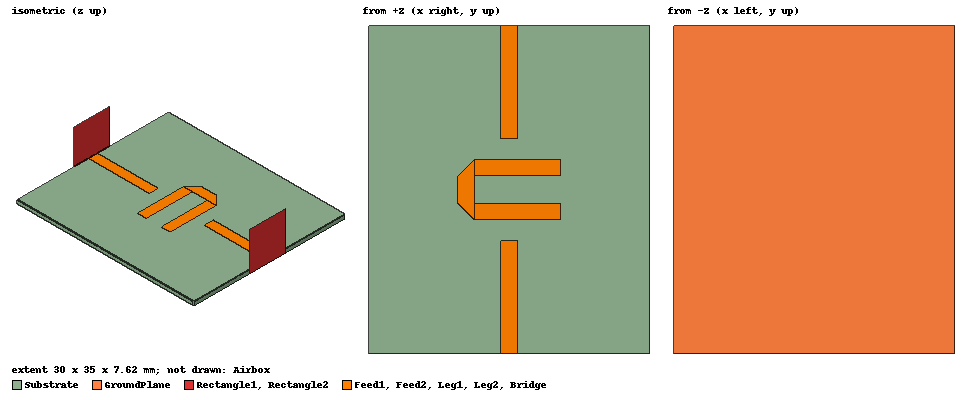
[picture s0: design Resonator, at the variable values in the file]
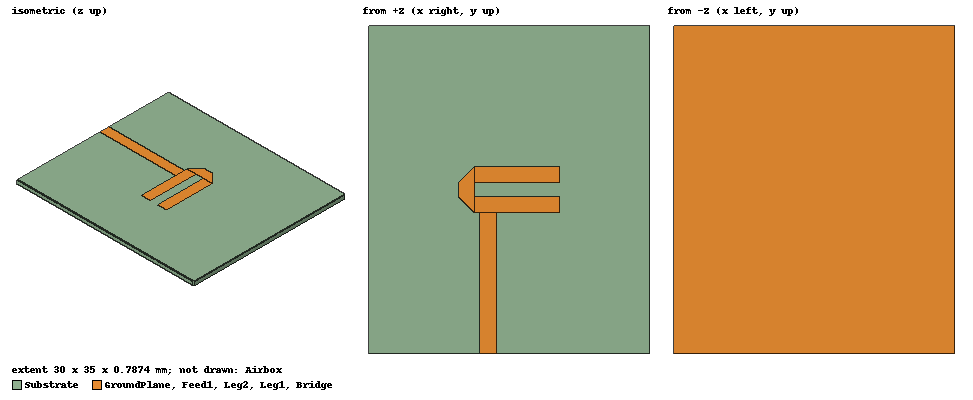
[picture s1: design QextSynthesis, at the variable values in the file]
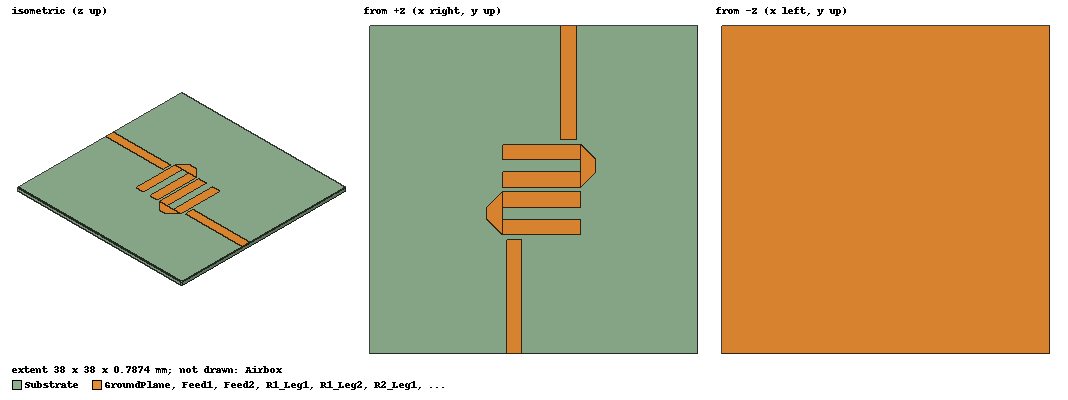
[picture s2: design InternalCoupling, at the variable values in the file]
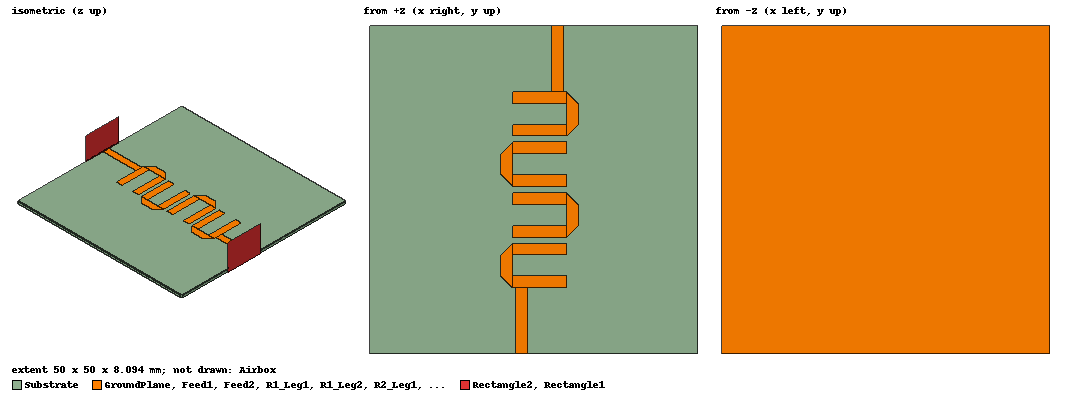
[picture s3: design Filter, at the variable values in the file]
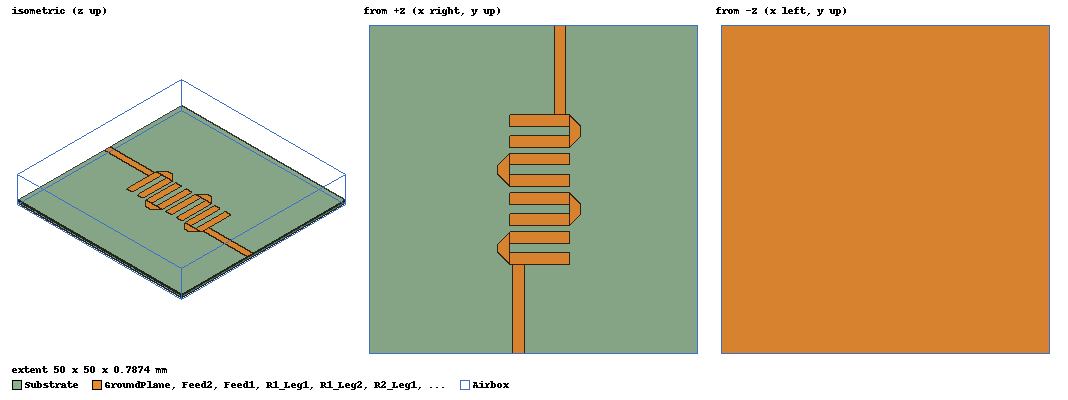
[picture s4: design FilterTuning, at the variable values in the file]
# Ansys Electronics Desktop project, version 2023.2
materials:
  vacuum: permittivity=1
  Rogers RO4003 (tm): permittivity=3.55 dielectric_loss_tangent=0.0027
  copper: permeability=0.999991 conductivity=58000000
  pec: conductivity=1e+30
  LossLess-Rogers RO4003 (tm): permittivity=3.55

design Resonator (HFSS, HFSS Modal Network, model units mm)
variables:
  AirboxWidth = 35mm
  MicrostripWidth = 1.78mm
  Thickness = 31mil
  Len = 25mm
  LegR1 = 0.3663
  BridgeR2 = 0.26
  R1x = AirboxHeight/2- (MicrostripWidth + LegR1*Len)/2
  R1y = AirboxWidth/2 - BridgeR2*Len/2
  AirboxHeight = 30mm
  W50 = 1.78mm
  FX = (AirboxHeight/2 - MicrostripWidth/2) mm
  F1x = AirboxHeight/2 - MicrostripWidth/2+FOffset
  WeakGap = 2.2mm
  FOffset = 0mm
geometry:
  Substrate [LossLess-Rogers RO4003 (tm)] = box(corner=(0mm, 0mm, 0), size=(AirboxHeight, AirboxWidth, Thickness))
  Airbox [vacuum] = box(corner=(0mm, 0mm, 0mm), size=(AirboxHeight, AirboxWidth, 300mil))
  Leg1 = rectangle(corner=(MicrostripWidth+R1x, R1y, Thickness), x_size=Len*LegR1, y_size=MicrostripWidth)
  Leg2 = rectangle(corner=(MicrostripWidth+R1x, R1y+BridgeR2*Len-MicrostripWidth, Thickness), x_size=Len*LegR1, y_size=MicrostripWidth)
  Bridge = rectangle(corner=(R1x, R1y, Thickness), x_size=MicrostripWidth, y_size=Len*BridgeR2)
  Feed1 = rectangle(corner=(F1X, 0, Thickness), x_size=W50, y_size=R1y-WeakGap)
  Feed2 = rectangle(corner=(AirboxHeight/2 - MicrostripWidth/2 + FOffset, AirboxWidth-R1y+WeakGap, Thickness), x_size=W50, y_size=R1y-WeakGap)
  GroundPlane = rectangle(corner=(0, 0, 0), x_size=AirboxHeight, y_size=AirboxWidth)
  Polyline1 = polyline(z=Thickness, xy: (R1x, R1y) (R1x, R1y+MicrostripWidth) (R1x+MicrostripWidth, R1y) (R1x, R1y), closed, covered)
  Bridge.subtract(Polyline1)
  Polyline2 = polyline(z=Thickness, xy: (R1x, R1y + BridgeR2*Len - MicrostripWidth) (R1x, R1y + BridgeR2*Len) (R1x+MicrostripWidth, R1y+BridgeR2*Len) (R1x, R1y + BridgeR2*Len - MicrostripWidth), closed, covered)
  Bridge.subtract(Polyline2)
  Rectangle1 = rectangle(corner=(F1x - (MicrostripWidth*4/3) - FOffset/2, 0mm, 0), z_size=300mil, x_size=MicrostripWidth*4)
  Rectangle2 = rectangle(corner=(F1x - (MicrostripWidth*4/3) - FOffset/2, AirboxWidth, 0), z_size=300mil, x_size=MicrostripWidth*4)
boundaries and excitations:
  Rad1: Radiation Faces=Airbox.face(+z)
  PerfE1: Perfect E Objects=[Bridge, Feed1, Feed2, GroundPlane, Leg1, Leg2]
  1: Wave Port Objects=Rectangle1 WavePortType=Modal NumModes=1 Modes{Mode1{CharImp=Zpi}}
  2: Wave Port Objects=Rectangle2 WavePortType=Modal NumModes=1 Modes{Mode1{CharImp=Zpi}}
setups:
  Setup1: HfssDriven Frequency=3.6GHz MaxDeltaS=0.01 MaximumPasses=12 MinimumPasses=1 MinimumConvergedPasses=1 PercentRefinement=30 BasisOrder=1 PortAccuracy=2 DrivenSolverType="Direct Solver"
    sweep Sweep: 1GHz to 5GHz, 1200 points; Type=Interpolating InterpTolerance=0.5 InterpMaxSolns=250 InterpUsePortImped=false PassivityErrorTolerance=0.0001
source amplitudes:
  1:1: 1W 0deg
  2:1: 0W 0deg
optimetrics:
  ParametricSetup1: Parametric Sim._Setups=[Setup1]
    sweep BridgeR2: 0.27
    sweep LegR1: LIN 0.3 0.4 0.02
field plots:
  ComplexMag_E1, ComplexMag_E2, ComplexMag_E4, Mag_E1: E Field in Airbox on Setup1 : LastAdaptive at Freq=3.6GHz Phase=0deg
  ComplexMag_E3: E Field in Substrate, Airbox on Setup1 : LastAdaptive at Freq=3.6GHz Phase=0deg
  ComplexMag_E5: E Field in Substrate on Setup1 : LastAdaptive at Freq=3.6GHz Phase=0deg
  ComplexMag_E6: E Field on Setup1 : LastAdaptive at Freq=3.6GHz Phase=0deg
  Mesh1: MeshPlots over Feed2.face on Setup1 : LastAdaptive at Freq=3.6GHz Phase=0deg
  Mesh2: MeshPlots in Substrate on Setup1 : LastAdaptive at Freq=3.6GHz Phase=0deg
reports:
  S Parameter Plot 1: dB(S(2,1)) vs Freq on Setup1 : Sweep [FOffset=0mm LegR1=0.3,0.32,0.33,0.335,0.34,0.345,0.35,0.36,0.3663,0.37,0.371,0.372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 BridgeR2=0.28 WeakGap=2.2mm]; markers m1 at 3.2885738GHz, m2 at 3.4687239GHz, m3 at 3.8123436GHz, m4 at 3.8323603GHz, m5 at 3.8490409GHz, m6 at 4.0458716GHz, MX1 at x=3.6e+09

design QextSynthesis (HFSS, HFSS Modal Network, model units mm)
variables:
  AirboxWidth = 35mm
  MicrostripWidth = 1.78mm
  Thickness = 31mil
  Len = 25mm
  LegR1 = 0.3631
  BridgeR2 = 0.2
  R1x = AirboxHeight/2- (MicrostripWidth + LegR1*Len)/2
  R1y = AirboxWidth/2 - BridgeR2*Len/2
  AirboxHeight = 30mm
  FeedPos = R1x+MicrostripWidth+QextOffset
  QextOffset = 0.5mm
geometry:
  Substrate [Rogers RO4003 (tm)] = box(corner=(0mm, 0mm, 0), size=(AirboxHeight, AirboxWidth, Thickness))
  Airbox [vacuum] = box(corner=(0mm, 0mm, -10mil), size=(AirboxHeight, AirboxWidth, 310mil))
  Leg1 = rectangle(corner=(MicrostripWidth+R1x, R1y, Thickness), x_size=Len*LegR1, y_size=MicrostripWidth)
  Leg2 = rectangle(corner=(MicrostripWidth+R1x, R1y+BridgeR2*Len-MicrostripWidth, Thickness), x_size=Len*LegR1, y_size=MicrostripWidth)
  Bridge = rectangle(corner=(R1x, R1y, Thickness), x_size=MicrostripWidth, y_size=Len*BridgeR2)
  Feed1 = rectangle(corner=(FeedPos, 0, Thickness), x_size=MicrostripWidth, y_size=R1y)
  GroundPlane = rectangle(corner=(0, 0, 0), x_size=AirboxHeight, y_size=AirboxWidth)
  Polyline1 = polyline(z=Thickness, xy: (R1x, R1y) (R1x, R1y+MicrostripWidth) (R1x+MicrostripWidth, R1y) (R1x, R1y), closed, covered)
  Polyline2 = polyline(z=Thickness, xy: (R1x, R1y + BridgeR2*Len - MicrostripWidth) (R1x, R1y + BridgeR2*Len) (R1x+MicrostripWidth, R1y+BridgeR2*Len) (R1x, R1y + BridgeR2*Len - MicrostripWidth), closed, covered)
  Bridge.subtract(Polyline1, Polyline2)
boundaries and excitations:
  FiniteCond1: Finite Conductivity Objects=[Bridge, Feed1, GroundPlane, Leg1, Leg2] UseMaterial Material=copper IsInternal
  Rad1: Radiation Objects=Airbox
  1: Wave Port Faces=Airbox.face(-y) WavePortType=Modal NumModes=1 Modes{Mode1{CharImp=Zpi}}
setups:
  Setup1: HfssDriven Frequency=3.6GHz MaxDeltaS=0.005 MaximumPasses=15 MinimumPasses=8 MinimumConvergedPasses=1 PercentRefinement=30 BasisOrder=1 PortAccuracy=2 DrivenSolverType="Direct Solver"
    sweep Sweep: 1.2GHz to 5.4GHz, 8000 points; Type=Interpolating SaveFields InterpTolerance=0.5 InterpMaxSolns=250 InterpUsePortImped=false PassivityErrorTolerance=0.0001
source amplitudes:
  1:1: 1W 0deg
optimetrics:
  ParametricSetup1: Parametric Sim._Setups=[Setup1]
    sweep QextOffset: LIN 0mm 3mm 0.6mm
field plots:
  ComplexMag_E1: E Field in Airbox on Setup1 : LastAdaptive at Freq=3.6GHz Phase=0deg
  Mag_E1: E Field in Airbox on Setup1 : Sweep at Freq=3.3GHz Phase=0deg
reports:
  S Parameter Plot 1: dB(S(1,1)), ang_deg(S(1,1)) vs Freq on Setup1 : Sweep; markers MX1 at x=4.2153764e+09, MY1 at y=0.455531, MY2 at y=-2.68606

design InternalCoupling (HFSS, HFSS Modal Network, model units mm)
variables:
  a = 0.2
  Beta1 = 0.3631
  Beta2 = Beta1
  W = 1.78mm
  Len = 25mm
  Resonator1W = a*Len
  Resonator1H = W + max(Beta1*Len,Beta2*Len)
  Spacing1 = 0.5mm
  ResonatorsW = 2*Resonator1W + Spacing1
  FeedOffset = 0.5mm
  F1Y = 0mm
  WeakGap = 0.5mm
  AirboxWidth = 38mm
  AirboxHeight = 38mm
  Thickness = 31mil
  Resonator1X = (AirboxHeight/2) - (Resonator1H/2)
  Resonator1Y = AirboxWidth/2 - (Resonator1W*2/2) - (Spacing1/2)
  Resonator2X = Resonator1X+W
  Resonator2Y = Resonator1Y + (a*Len) + Spacing1
  F1X = Resonator1X+W+FeedOffset
  F2X = Resonator2X-W+max(Beta1,Beta2)*Len - FeedOffset
  F2Y = FeedLen + ResonatorsW + 2*WeakGap
  FeedLen = Resonator1Y-WeakGap
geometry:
  Substrate [Rogers RO4003 (tm)] = box(corner=(0mm, 0mm, 0), size=(AirboxHeight, AirboxWidth, Thickness))
  Airbox [vacuum] = box(corner=(0mm, 0mm, 0), size=(AirboxHeight, AirboxWidth, 300mil))
  GroundPlane = rectangle(corner=(0, 0, 0), x_size=AirboxHeight, y_size=AirboxWidth)
  R1_Bridge = rectangle(corner=(Resonator1X, Resonator1Y, Thickness), x_size=W, y_size=a*Len)
  R1_Leg1 = rectangle(corner=(Resonator1X+W, Resonator1Y, Thickness), x_size=Beta1*Len, y_size=W)
  R1_Leg2 = rectangle(corner=(Resonator1X+W, Resonator1Y+(a*Len)-W, Thickness), x_size=Beta2*Len, y_size=W)
  R2_Bridge1 = rectangle(corner=(Resonator2X+max(Beta1,Beta2)*Len, Resonator2Y, Thickness), x_size=W, y_size=a*Len)
  R2_Leg1 = rectangle(corner=(Resonator2X, Resonator2Y, Thickness), x_size=Beta1*Len, y_size=W)
  R2_Leg2 = rectangle(corner=(Resonator2X, Resonator2Y+(a*Len)-W, Thickness), x_size=Beta2*Len, y_size=W)
  Feed1 = rectangle(corner=(F1X, F1Y, Thickness), x_size=W, y_size=FeedLen)
  Feed2 = rectangle(corner=(F2X, F2Y, Thickness), x_size=W, y_size=FeedLen)
  Polyline1 = polyline(z=Thickness, xy: (Resonator1X, Resonator1Y) (Resonator1X, Resonator1Y+W) (Resonator1X+W, Resonator1Y) (Resonator1X, Resonator1Y), closed, covered)
  R1_Bridge.subtract(Polyline1)
  Polyline2 = polyline(z=Thickness, xy: (Resonator1X, Resonator1Y + a*Len - W) (Resonator1X, Resonator1Y+ a*Len) (Resonator1X+W, Resonator1Y + a*Len) (Resonator1X, Resonator1Y + a*Len - W), closed, covered)
  R1_Bridge.subtract(Polyline2)
  Polyline3 = polyline(z=Thickness, xy: (Resonator2X+Beta1*Len, Resonator2Y) (Resonator2X+Beta1*Len+W, Resonator2Y) (Resonator2X+Beta1*Len+W, Resonator2Y+W) (Resonator2X+Beta1*Len, Resonator2Y), closed, covered)
  Polyline4 = polyline(z=Thickness, xy: (Resonator2X+Beta2*Len, Resonator2Y+a*Len) (Resonator2X+Beta2*Len+W, Resonator2Y+a*Len) (Resonator2X+Beta2*Len+W, Resonator2Y+a*Len-W) (Resonator2X+Beta2*Len, Resonator2Y+a*Len), closed, covered)
  R2_Bridge1.subtract(Polyline3, Polyline4)
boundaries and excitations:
  FiniteCond6: Finite Conductivity Objects=GroundPlane UseMaterial Material=copper IsInternal
  FiniteCond7: Finite Conductivity Objects=[Feed1, Feed2, R1_Bridge, R1_Leg1, R1_Leg2, R2_Bridge1, R2_Leg1, R2_Leg2] Conductivity=58000000 Permeability=1 IsInternal
  Rad1: Radiation Faces=Airbox.face(+z)
  1: Wave Port Faces=Airbox.face(-y) WavePortType=Modal NumModes=1 Modes{Mode1{CharImp=Zpi}}
  2: Wave Port Faces=Airbox.face(+y) WavePortType=Modal NumModes=1 Modes{Mode1{CharImp=Zpi}}
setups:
  Setup1: HfssDriven Frequency=3.6GHz MaxDeltaS=0.005 MaximumPasses=15 MinimumPasses=1 MinimumConvergedPasses=1 PercentRefinement=30 BasisOrder=1 PortAccuracy=2 DrivenSolverType="Direct Solver"
    sweep Sweep: 1.8GHz to 5.4GHz, 4000 points; Type=Interpolating InterpTolerance=0.5 InterpMaxSolns=250 InterpUsePortImped=false PassivityErrorTolerance=0.0001
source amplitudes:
  1:1: 1W 0deg
  2:1: 0W 0deg
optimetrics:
  ParametricSetup1: Parametric Sim._Setups=[Setup1]
    sweep Spacing1: 1.03mm
    sweep WeakGap: 0.42mm
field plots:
  ComplexMag_E1: E Field in Airbox on Setup1 : LastAdaptive at Freq=3.6GHz Phase=0deg
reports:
  S Parameter Plot 1: dB(S(2,1)) vs Freq on Setup1 : Sweep [Spacing1=all WeakGap=0.42mm]; markers m1 at 3.7858965GHz, m2 at 4.0955739GHz, m3 at 3.8642161GHz, m4 at 4.0811703GHz, m5 at 3.9317329GHz, m6 at 4.1099775GHz, m7 at 3.903826GHz, m8 at 4.1504876GHz

design Filter (HFSS, HFSS Modal Network, model units mm)
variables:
  a = 0.27
  Beta1 = 0.33
  Beta2 = Beta1
  W = 1.78mm
  Len = 25mm
  Resonator1W = a*Len
  Resonator1H = W + max(Beta1,Beta2)*Len
  W50 = 1.78mm
  Spacing1 = 0.911mm
  ResonatorsW = Resonator1W + Resonator2W + Resonator3W + Resonator4W + Spacing1 + Spacing2 + Spacing3
  FeedOffset = 0.5mm
  Resonator2W = a*Len
  Resonator3W = a*Len
  Resonator4W = a*Len
  F1Y = 0mm
  Spacing2 = 1.03mm
  Spacing3 = Spacing1
  WeakGap = 0mm
  AirboxWidth = 50mm
  AirboxHeight = 50mm
  Thickness = 31mil
  Resonator1X = (AirboxHeight/2) - (Resonator1H/2)
  Resonator1Y = AirboxWidth/2 - ResonatorsW/2
  Resonator2X = Resonator1X+W
  Resonator2Y = Resonator1Y + Resonator1W + Spacing1
  F1X = Resonator1X+W+FeedOffset
  F2X = Resonator2X-W+max(Beta1,Beta2)*Len - FeedOffset
  F2Y = FeedLen + ResonatorsW + 2*WeakGap
  FeedLen = Resonator1Y-WeakGap
  Resonator3X = Resonator1X
  Resonator4X = Resonator1X+W
  Resonator3Y = Resonator2Y + Resonator2W + Spacing2
  Resonator4Y = Resonator3Y + Resonator3W + Spacing3
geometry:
  Substrate [LossLess-Rogers RO4003 (tm)] = box(corner=(0mm, 0mm, 0), size=(AirboxHeight, AirboxWidth, Thickness))
  Airbox [vacuum] = box(corner=(0mm, 0mm, -20mil), size=(AirboxHeight, AirboxWidth, 320mil))
  GroundPlane = rectangle(corner=(0, 0, 0), x_size=AirboxHeight, y_size=AirboxWidth)
  R1_Bridge = rectangle(corner=(Resonator1X, Resonator1Y, Thickness), x_size=W, y_size=a*Len)
  R1_Leg1 = rectangle(corner=(Resonator1X+W, Resonator1Y, Thickness), x_size=Beta1*Len, y_size=W)
  R1_Leg2 = rectangle(corner=(Resonator1X+W, Resonator1Y+(a*Len)-W, Thickness), x_size=Beta2*Len, y_size=W)
  R2_Bridge = rectangle(corner=(Resonator2X+max(Beta1,Beta2)*Len, Resonator2Y, Thickness), x_size=W, y_size=a*Len)
  R2_Leg1 = rectangle(corner=(Resonator2X, Resonator2Y, Thickness), x_size=Beta1*Len, y_size=W)
  R2_Leg2 = rectangle(corner=(Resonator2X, Resonator2Y+(a*Len)-W, Thickness), x_size=Beta2*Len, y_size=W)
  Feed1 = rectangle(corner=(F1X, F1Y, Thickness), x_size=W50, y_size=FeedLen)
  Feed2 = rectangle(corner=(F2X, F2Y, Thickness), x_size=W50, y_size=FeedLen)
  R3_Bridge = rectangle(corner=(Resonator3X, Resonator3Y, Thickness), x_size=W, y_size=a*Len)
  R3_Leg1 = rectangle(corner=(Resonator3X+W, Resonator3Y, Thickness), x_size=Beta1*Len, y_size=W)
  R3_Leg2 = rectangle(corner=(Resonator3X+W, Resonator3Y+(a*Len)-W, Thickness), x_size=Beta1*Len, y_size=W)
  R4_Bridge = rectangle(corner=(Resonator4X+max(Beta1,Beta2)*Len, Resonator4Y, Thickness), x_size=W, y_size=a*Len)
  R4_Leg1 = rectangle(corner=(Resonator4X, Resonator4Y, Thickness), x_size=Beta1*Len, y_size=W)
  R4_Leg2 = rectangle(corner=(Resonator4X, Resonator4Y+(a*Len)-W, Thickness), x_size=Beta1*Len, y_size=W)
  Polyline1 = polyline(z=Thickness, xy: (Resonator1X, Resonator1Y) (Resonator1X, Resonator1Y + W) (Resonator1X+W, Resonator1Y) (Resonator1X, Resonator1Y), closed, covered)
  R1_Bridge.subtract(Polyline1)
  Polyline2 = polyline(z=Thickness, xy: (Resonator3X, Resonator3Y) (Resonator3X, Resonator3Y+W) (Resonator3X+W, Resonator3Y) (Resonator3X, Resonator3Y), closed, covered)
  R3_Bridge.subtract(Polyline2)
  Polyline3 = polyline(z=Thickness, xy: (Resonator1X, Resonator1Y + a*Len - W) (Resonator1X, Resonator1Y + a*Len) (Resonator1X+W, Resonator1Y + a*Len) (Resonator1X, Resonator1Y + a*Len - W), closed, covered)
  R1_Bridge.subtract(Polyline3)
  Polyline4 = polyline(z=Thickness, xy: (Resonator3X, Resonator3Y + a*Len - W) (Resonator3X, Resonator3Y + a*Len) (Resonator3X+W, Resonator3Y+a*Len) (Resonator3X, Resonator3Y + a*Len - W), closed, covered)
  R3_Bridge.subtract(Polyline4)
  Polyline5 = polyline(z=Thickness, xy: (Resonator2X+Beta1*Len, Resonator2Y) (Resonator2X+Beta1*Len+W, Resonator2Y) (Resonator2X+Beta1*Len+W, Resonator2Y+W) (Resonator2X+Beta1*Len, Resonator2Y), closed, covered)
  R2_Bridge.subtract(Polyline5)
  Polyline6 = polyline(z=Thickness, xy: (Resonator4X+Beta1*Len, Resonator4Y) (Resonator4X+Beta1*Len+W, Resonator4Y) (Resonator4X+Beta1*Len+W, Resonator4Y+W) (Resonator4X+Beta1*Len, Resonator4Y), closed, covered)
  R4_Bridge.subtract(Polyline6)
  Polyline7 = polyline(z=Thickness, xy: (Resonator2X+Beta2*Len, Resonator2Y+a*Len) (Resonator2X+Beta2*Len+W, Resonator2Y+a*Len) (Resonator2X+Beta2*Len+W, Resonator2Y+a*Len-W) (Resonator2X+Beta2*Len, Resonator2Y+a*Len), closed, covered)
  R2_Bridge.subtract(Polyline7)
  Polyline8 = polyline(z=Thickness, xy: (Resonator4X+Beta2*Len, Resonator4Y+a*Len) (Resonator4X+Beta2*Len+W, Resonator4Y+a*Len) (Resonator4X+Beta2*Len+W, Resonator4Y+a*Len-W) (Resonator4X+Beta2*Len, Resonator4Y+a*Len), closed, covered)
  R4_Bridge.subtract(Polyline8)
  Rectangle1 = rectangle(corner=(19.33432mm, 0mm, -0.33080207mm), z_size=7.9448824mm, x_size=9.8647114mm)
  Rectangle2 = rectangle(corner=(36mm, AirboxWidth, -0.18071828mm), z_size=7.9434507mm, x_size=-10.121375mm)
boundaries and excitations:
  FiniteCond6: Finite Conductivity Objects=GroundPlane UseMaterial Material=copper IsInternal
  FiniteCond7: Finite Conductivity Objects=[Feed1, Feed2, R1_Bridge, R1_Leg1, R1_Leg2, R2_Bridge, R2_Leg1, R2_Leg2] Conductivity=58000000 Permeability=1 IsInternal
  FiniteCond8: Finite Conductivity Objects=[R3_Bridge, R3_Leg1, R3_Leg2, R4_Bridge, R4_Leg1, R4_Leg2] Conductivity=58000000 Permeability=1 IsInternal
  Rad1: Radiation Faces=Airbox.face(+z)
  1: Wave Port Objects=Rectangle1 WavePortType=Modal NumModes=1 Modes{Mode1{CharImp=Zpi}}
  2: Wave Port Objects=Rectangle2 WavePortType=Modal NumModes=1 Modes{Mode1{CharImp=Zpi}}
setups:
  Setup1: HfssDriven Frequency=3.6GHz MaxDeltaS=0.005 MaximumPasses=15 MinimumPasses=1 MinimumConvergedPasses=1 PercentRefinement=30 BasisOrder=1 PortAccuracy=2 DrivenSolverType="Direct Solver"
    sweep Sweep: 1.8GHz to 5.8GHz, 4000 points; Type=Interpolating InterpTolerance=0.5 InterpMaxSolns=250 InterpUsePortImped=false PassivityErrorTolerance=0.0001
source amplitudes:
  1:1: 1W 0deg
  2:1: 0W 0deg
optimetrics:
  ParametricSetup1: Parametric Sim._Setups=[Setup1]
    sweep W: LIN 0.6mm 2mm 0.2mm
    sweep a: LIN 0.09 0.27 0.4
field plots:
  Mag_E1: E Field in Airbox on Setup1 : LastAdaptive at Freq=3.6GHz Phase=0deg
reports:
  S Parameter Plot 1: dB(S(1,1)), dB(S(2,1)) vs Freq on Setup1 : Sweep [a=all W=all]; markers m1 at 4.2096024GHz, MY1 at y=-87.5

design FilterTuning (HFSS, HFSS Modal Network, model units mm)
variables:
  a = 0.2
  Beta1 = 0.3631
  Beta2 = Beta1
  W = 1.78mm
  Len = 25mm
  Resonator1W = a*Len
  Resonator1H = W + max(Beta1,Beta2)*Len
  W50 = 1.78mm
  Spacing1 = 0.911mm
  ResonatorsW = Resonator1W + Resonator2W + Resonator3W + Resonator4W + Spacing1 + Spacing2 + Spacing3
  FeedOffset = 0.5mm
  Resonator2W = a*Len
  Resonator3W = a*Len
  Resonator4W = a*Len
  F1Y = 0mm
  Spacing2 = 1.03mm
  Spacing3 = Spacing1
  WeakGap = 0mm
  AirboxWidth = 50mm
  AirboxHeight = 50mm
  Thickness = 31mil
  Resonator1X = (AirboxHeight/2) - (Resonator1H/2)
  Resonator1Y = AirboxWidth/2 - ResonatorsW/2
  Resonator2X = Resonator1X+W
  Resonator2Y = Resonator1Y + Resonator1W + Spacing1
  F1X = Resonator1X+W+FeedOffset
  F2X = Resonator2X-W+max(Beta1,Beta2)*Len - FeedOffset
  F2Y = FeedLen + ResonatorsW + 2*WeakGap
  FeedLen = Resonator1Y-WeakGap
  Resonator3X = Resonator1X
  Resonator4X = Resonator1X+W
  Resonator3Y = Resonator2Y + Resonator2W + Spacing2
  Resonator4Y = Resonator3Y + Resonator3W + Spacing3
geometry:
  Substrate [LossLess-Rogers RO4003 (tm)] = box(corner=(0mm, 0mm, 0), size=(AirboxHeight, AirboxWidth, Thickness))
  Airbox [vacuum] = box(corner=(0mm, 0mm, -20mil), size=(AirboxHeight, AirboxWidth, 320mil))
  GroundPlane = rectangle(corner=(0, 0, 0), x_size=AirboxHeight, y_size=AirboxWidth)
  R1_Bridge = rectangle(corner=(Resonator1X, Resonator1Y, Thickness), x_size=W, y_size=a*Len)
  R1_Leg1 = rectangle(corner=(Resonator1X+W, Resonator1Y, Thickness), x_size=Beta1*Len, y_size=W)
  R1_Leg2 = rectangle(corner=(Resonator1X+W, Resonator1Y+(a*Len)-W, Thickness), x_size=Beta2*Len, y_size=W)
  R2_Bridge = rectangle(corner=(Resonator2X+max(Beta1,Beta2)*Len, Resonator2Y, Thickness), x_size=W, y_size=a*Len)
  R2_Leg1 = rectangle(corner=(Resonator2X, Resonator2Y, Thickness), x_size=Beta1*Len, y_size=W)
  R2_Leg2 = rectangle(corner=(Resonator2X, Resonator2Y+(a*Len)-W, Thickness), x_size=Beta2*Len, y_size=W)
  Feed1 = rectangle(corner=(F1X, F1Y, Thickness), x_size=W50, y_size=FeedLen)
  Feed2 = rectangle(corner=(F2X, F2Y, Thickness), x_size=W50, y_size=FeedLen)
  R3_Bridge = rectangle(corner=(Resonator3X, Resonator3Y, Thickness), x_size=W, y_size=a*Len)
  R3_Leg1 = rectangle(corner=(Resonator3X+W, Resonator3Y, Thickness), x_size=Beta1*Len, y_size=W)
  R3_Leg2 = rectangle(corner=(Resonator3X+W, Resonator3Y+(a*Len)-W, Thickness), x_size=Beta1*Len, y_size=W)
  R4_Bridge = rectangle(corner=(Resonator4X+max(Beta1,Beta2)*Len, Resonator4Y, Thickness), x_size=W, y_size=a*Len)
  R4_Leg1 = rectangle(corner=(Resonator4X, Resonator4Y, Thickness), x_size=Beta1*Len, y_size=W)
  R4_Leg2 = rectangle(corner=(Resonator4X, Resonator4Y+(a*Len)-W, Thickness), x_size=Beta1*Len, y_size=W)
  Polyline1 = polyline(z=Thickness, xy: (Resonator1X, Resonator1Y) (Resonator1X, Resonator1Y + W) (Resonator1X+W, Resonator1Y) (Resonator1X, Resonator1Y), closed, covered)
  R1_Bridge.subtract(Polyline1)
  Polyline2 = polyline(z=Thickness, xy: (Resonator3X, Resonator3Y) (Resonator3X, Resonator3Y+W) (Resonator3X+W, Resonator3Y) (Resonator3X, Resonator3Y), closed, covered)
  R3_Bridge.subtract(Polyline2)
  Polyline3 = polyline(z=Thickness, xy: (Resonator1X, Resonator1Y + a*Len - W) (Resonator1X, Resonator1Y + a*Len) (Resonator1X+W, Resonator1Y + a*Len) (Resonator1X, Resonator1Y + a*Len - W), closed, covered)
  R1_Bridge.subtract(Polyline3)
  Polyline4 = polyline(z=Thickness, xy: (Resonator3X, Resonator3Y + a*Len - W) (Resonator3X, Resonator3Y + a*Len) (Resonator3X+W, Resonator3Y+a*Len) (Resonator3X, Resonator3Y + a*Len - W), closed, covered)
  R3_Bridge.subtract(Polyline4)
  Polyline5 = polyline(z=Thickness, xy: (Resonator2X+Beta1*Len, Resonator2Y) (Resonator2X+Beta1*Len+W, Resonator2Y) (Resonator2X+Beta1*Len+W, Resonator2Y+W) (Resonator2X+Beta1*Len, Resonator2Y), closed, covered)
  R2_Bridge.subtract(Polyline5)
  Polyline6 = polyline(z=Thickness, xy: (Resonator4X+Beta1*Len, Resonator4Y) (Resonator4X+Beta1*Len+W, Resonator4Y) (Resonator4X+Beta1*Len+W, Resonator4Y+W) (Resonator4X+Beta1*Len, Resonator4Y), closed, covered)
  R4_Bridge.subtract(Polyline6)
  Polyline7 = polyline(z=Thickness, xy: (Resonator2X+Beta2*Len, Resonator2Y+a*Len) (Resonator2X+Beta2*Len+W, Resonator2Y+a*Len) (Resonator2X+Beta2*Len+W, Resonator2Y+a*Len-W) (Resonator2X+Beta2*Len, Resonator2Y+a*Len), closed, covered)
  R2_Bridge.subtract(Polyline7)
  Polyline8 = polyline(z=Thickness, xy: (Resonator4X+Beta2*Len, Resonator4Y+a*Len) (Resonator4X+Beta2*Len+W, Resonator4Y+a*Len) (Resonator4X+Beta2*Len+W, Resonator4Y+a*Len-W) (Resonator4X+Beta2*Len, Resonator4Y+a*Len), closed, covered)
  R4_Bridge.subtract(Polyline8)
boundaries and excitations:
  PerfE1: Perfect E Objects=[Feed1, Feed2, GroundPlane, R1_Bridge, R1_Leg1, R1_Leg2, R2_Bridge, R2_Leg1, R2_Leg2, R3_Bridge, R3_Leg1, R3_Leg2, R4_Leg1, R4_Leg2, R4_Bridge]
  1: Wave Port Faces=Airbox.face(-y) WavePortType=Modal NumModes=1 Modes{Mode1{CharImp=Zpi}}
  2: Wave Port Faces=Airbox.face(+y) WavePortType=Modal NumModes=1 Modes{Mode1{CharImp=Zpi}}
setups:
  Setup1: HfssDriven Frequency=3.6GHz MaxDeltaS=0.005 MaximumPasses=15 MinimumPasses=1 MinimumConvergedPasses=1 PercentRefinement=30 BasisOrder=1 PortAccuracy=2 DrivenSolverType="Direct Solver"
    sweep Sweep: 1.8GHz to 5.8GHz, 4000 points; Type=Interpolating InterpTolerance=0.5 InterpMaxSolns=250 InterpUsePortImped=false PassivityErrorTolerance=0.0001
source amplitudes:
  1:1: 1W 0deg
  2:1: 0W 0deg
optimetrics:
  ParametricSetup1: Parametric Sim._Setups=[Setup1]
    sweep W: LIN 0.6mm 2mm 0.2mm
    sweep a: LIN 0.09 0.27 0.4
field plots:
  Mag_E1: E Field in Airbox on Setup1 : LastAdaptive at Freq=3.6GHz Phase=0deg
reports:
  S Parameter Plot 1: dB(S(5,6)), dB(S(2,1)) vs Freq on Setup1 : Sweep [a=all W=all]
